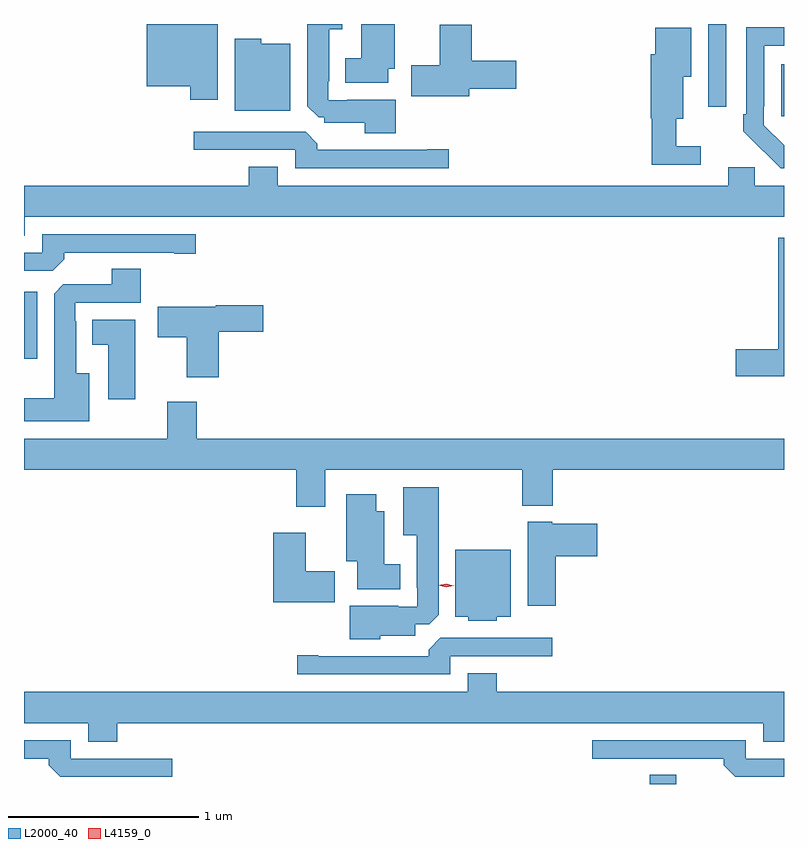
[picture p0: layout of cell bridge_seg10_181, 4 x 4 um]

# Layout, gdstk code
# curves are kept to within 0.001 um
import gdstk
lib = gdstk.Library(unit=1e-6, precision=1e-09)
def R(c, l, rs):  # rectangles x0, y0, x1, y1
    for r in rs: c.add(gdstk.rectangle(r[:2], r[2:], *l))
def P(c, l, *ps):  # polygons
    for p in ps: c.add(gdstk.Polygon(p, *l))
L2000_40 = (2000, 40)
L4159_0 = (4159, 0)

bridge_seg10_181 = lib.new_cell('bridge_seg10_181')
R(bridge_seg10_181, L2000_40, [(169.544,1285.343,169.684,1285.391), (166.251,1287.581,166.321,1287.934), (170.237,1288.857,170.251,1289.131), (169.851,1288.908,169.947,1289.343)])
P(bridge_seg10_181, L2000_40, [(168.169,1289.108),(168.202,1289.108),(168.202,1289.343),(168.026,1289.343),(168.026,1289.164),(167.942,1289.164),(167.942,1289.033),(168.169,1289.033)],
  [(168.208,1288.945),(167.953,1288.945),(167.953,1288.941),(167.853,1288.941),(167.853,1289.041),(167.857,1289.041),(167.857,1289.315),(167.926,1289.315),(167.926,1289.343),(167.741,1289.343),(167.741,1288.911),(167.801,1288.851),(167.832,1288.851),(167.832,1288.823),(168.044,1288.823),(168.044,1288.769),(168.208,1288.769)],
  [(167.272,1289.343),(166.898,1289.343),(166.898,1289.015),(167.126,1289.015),(167.126,1288.944),(167.272,1288.944)],
  [(168.595,1289.003),(168.841,1289.003),(168.841,1289.15),(168.608,1289.15),(168.608,1289.338),(168.44,1289.338),(168.44,1289.127),(168.288,1289.127),(168.288,1288.964),(168.595,1288.964)],
  [(170.251,1288.704),(170.145,1288.809),(170.145,1288.909),(170.148,1288.909),(170.148,1289.229),(170.251,1289.229),(170.251,1289.325),(170.052,1289.325),(170.052,1288.867),(170.037,1288.867),(170.037,1288.779),(170.234,1288.584),(170.251,1288.584)],
  [(169.813,1288.699),(169.684,1288.699),(169.684,1288.844),(169.72,1288.844),(169.72,1289.066),(169.762,1289.066),(169.762,1289.323),(169.574,1289.323),(169.574,1289.184),(169.55,1289.184),(169.55,1288.848),(169.555,1288.848),(169.555,1288.602),(169.813,1288.602)],
  [(167.653,1289.239),(167.499,1289.239),(167.499,1289.266),(167.36,1289.266),(167.36,1288.886),(167.653,1288.886)],
  [(168.487,1288.685),(168.374,1288.685),(168.374,1288.68),(167.795,1288.68),(167.795,1288.714),(167.733,1288.776),(167.145,1288.776),(167.145,1288.68),(167.679,1288.68),(167.679,1288.584),(168.487,1288.584)],
  [(166.255,1288.328),(170.251,1288.328),(170.251,1288.492),(170.097,1288.492),(170.097,1288.59),(169.958,1288.59),(169.958,1288.492),(167.587,1288.492),(167.587,1288.591),(167.435,1288.591),(167.435,1288.492),(166.251,1288.492),(166.251,1288.229),(166.255,1288.229)],
  [(166.463,1288.106),(166.463,1288.14),(167.042,1288.14),(167.042,1288.135),(167.155,1288.135),(167.155,1288.236),(166.347,1288.236),(166.347,1288.14),(166.251,1288.14),(166.251,1288.044),(166.401,1288.044)],
  [(170.251,1288.218),(170.221,1288.218),(170.221,1287.632),(169.998,1287.632),(169.998,1287.49),(170.251,1287.49)],
  [(166.594,1287.505),(166.525,1287.505),(166.525,1287.779),(166.521,1287.779),(166.521,1287.876),(166.865,1287.876),(166.865,1288.055),(166.712,1288.055),(166.712,1287.972),(166.458,1287.972),(166.409,1287.923),(166.409,1287.373),(166.251,1287.373),(166.251,1287.251),(166.594,1287.251)],
  [(167.276,1287.722),(167.509,1287.722),(167.509,1287.864),(167.259,1287.864),(167.259,1287.856),(166.956,1287.856),(166.956,1287.694),(167.108,1287.694),(167.108,1287.483),(167.276,1287.483)],
  [(166.837,1287.787),(166.61,1287.787),(166.61,1287.656),(166.694,1287.656),(166.694,1287.369),(166.837,1287.369)],
  [(167.159,1287.355),(167.006,1287.355),(167.006,1287.16),(166.251,1287.16),(166.251,1286.996),(167.684,1286.996),(167.684,1286.802),(167.836,1286.802),(167.836,1286.996),(168.874,1286.996),(168.874,1286.807),(169.034,1286.807),(169.034,1286.996),(170.251,1286.996),(170.251,1287.16),(167.159,1287.16)],
  [(168.126,1286.123),(168.31,1286.123),(168.31,1286.184),(168.384,1286.184),(168.433,1286.233),(168.433,1286.905),(168.248,1286.905),(168.248,1286.651),(168.317,1286.651),(168.317,1286.377),(168.321,1286.377),(168.321,1286.277),(168.221,1286.277),(168.221,1286.281),(167.966,1286.281),(167.966,1286.105),(168.126,1286.105)],
  [(168.232,1286.5),(168.148,1286.5),(168.148,1286.779),(168.106,1286.779),(168.106,1286.869),(167.948,1286.869),(167.948,1286.516),(168.005,1286.516),(168.005,1286.369),(168.232,1286.369)],
  [(169.049,1286.543),(169.267,1286.543),(169.267,1286.713),(169.032,1286.713),(169.032,1286.722),(168.902,1286.722),(168.902,1286.28),(169.049,1286.28)],
  [(167.887,1286.463),(167.734,1286.463),(167.734,1286.665),(167.564,1286.665),(167.564,1286.3),(167.887,1286.3)],
  [(168.738,1286.222),(168.814,1286.222),(168.814,1286.575),(168.521,1286.575),(168.521,1286.222),(168.588,1286.222),(168.588,1286.201),(168.738,1286.201)],
  [(168.495,1286.016),(169.03,1286.016),(169.03,1286.112),(168.441,1286.112),(168.38,1286.05),(168.38,1286.016),(167.8,1286.016),(167.8,1286.021),(167.688,1286.021),(167.688,1285.92),(168.495,1285.92)],
  [(166.742,1285.664),(170.141,1285.664),(170.141,1285.565),(170.251,1285.565),(170.251,1285.828),(168.74,1285.828),(168.74,1285.927),(168.587,1285.927),(168.587,1285.828),(166.251,1285.828),(166.251,1285.664),(166.589,1285.664),(166.589,1285.565),(166.742,1285.565)],
  [(170.251,1285.476),(170.049,1285.476),(170.049,1285.572),(169.242,1285.572),(169.242,1285.476),(169.934,1285.476),(169.934,1285.442),(169.995,1285.38),(170.251,1285.38)],
  [(167.032,1285.476),(166.497,1285.476),(166.497,1285.572),(166.251,1285.572),(166.251,1285.476),(166.382,1285.476),(166.382,1285.442),(166.443,1285.38),(167.032,1285.38)])
P(bridge_seg10_181, L4159_0, [(168.473,1286.378),(168.432,1286.388),(168.432,1286.388),(168.432,1286.389),(168.473,1286.398),(168.514,1286.387),(168.514,1286.387),(168.514,1286.387)])

lib.write_gds('bridge_seg10_181.gds')
